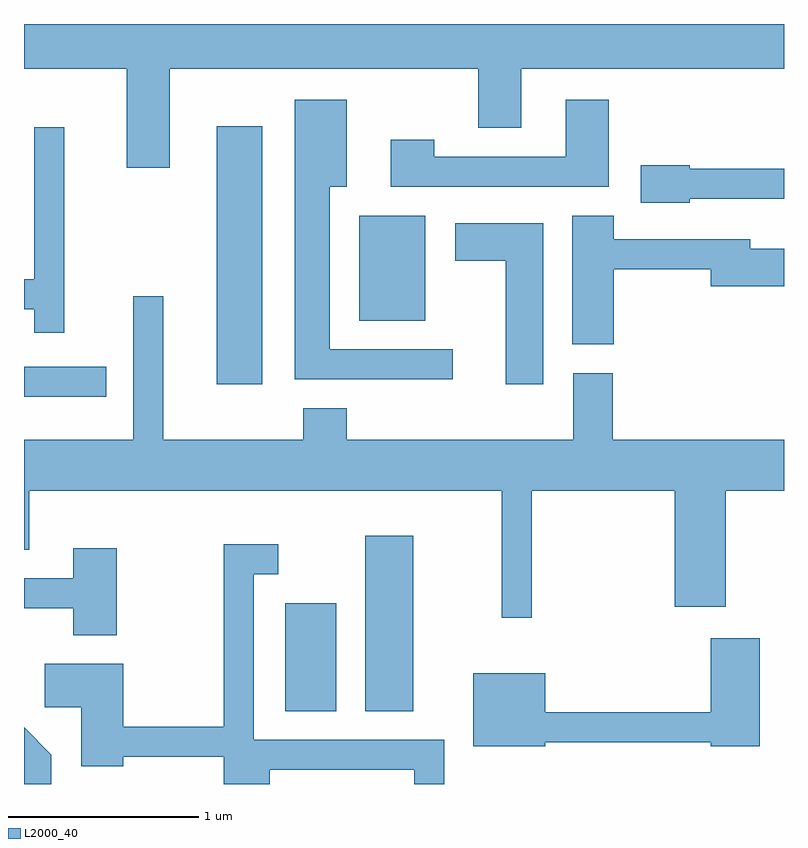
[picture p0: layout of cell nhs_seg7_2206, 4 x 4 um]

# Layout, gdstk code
import gdstk
lib = gdstk.Library(unit=1e-6, precision=1e-09)
def R(c, l, rs):  # rectangles x0, y0, x1, y1
    for r in rs: c.add(gdstk.rectangle(r[:2], r[2:], *l))
def P(c, l, *ps):  # polygons
    for p in ps: c.add(gdstk.Polygon(p, *l))
L2000_40 = (2000, 40)

nhs_seg7_2206 = lib.new_cell('nhs_seg7_2206')
R(nhs_seg7_2206, L2000_40, [(252.986,1788.636,253.254,1789.204), (253.406,1788.636,253.659,1789.559), (251.611,1790.291,252.043,1790.449), (252.626,1790.356,252.864,1791.714), (253.376,1790.691,253.724,1791.244)])
P(nhs_seg7_2206, L2000_40, [(252.379,1792.016),(254.001,1792.016),(254.001,1791.706),(254.229,1791.706),(254.229,1792.016),(255.611,1792.016),(255.611,1792.252),(251.611,1792.252),(251.611,1792.016),(252.151,1792.016),(252.151,1791.496),(252.379,1791.496)],
  [(254.689,1791.854),(254.461,1791.854),(254.461,1791.554),(253.769,1791.554),(253.769,1791.644),(253.541,1791.644),(253.541,1791.396),(254.689,1791.396)],
  [(253.868,1790.539),(253.219,1790.539),(253.219,1791.396),(253.309,1791.396),(253.309,1791.854),(253.036,1791.854),(253.036,1790.381),(253.868,1790.381)],
  [(251.824,1791.708),(251.666,1791.708),(251.666,1790.909),(251.611,1790.909),(251.611,1790.751),(251.666,1790.751),(251.666,1790.628),(251.824,1790.628)],
  [(255.114,1791.331),(255.611,1791.331),(255.611,1791.489),(255.114,1791.489),(255.114,1791.509),(254.856,1791.509),(254.856,1791.311),(255.114,1791.311)],
  [(254.714,1790.961),(255.226,1790.961),(255.226,1790.871),(255.611,1790.871),(255.611,1791.069),(255.434,1791.069),(255.434,1791.119),(254.714,1791.119),(254.714,1791.244),(254.496,1791.244),(254.496,1790.566),(254.714,1790.566)],
  [(254.344,1791.204),(253.881,1791.204),(253.881,1791.006),(254.146,1791.006),(254.146,1790.356),(254.344,1790.356)],
  [(254.284,1789.796),(255.036,1789.796),(255.036,1789.186),(255.304,1789.186),(255.304,1789.796),(255.611,1789.796),(255.611,1790.064),(254.709,1790.064),(254.709,1790.414),(254.501,1790.414),(254.501,1790.064),(253.309,1790.064),(253.309,1790.229),(253.081,1790.229),(253.081,1790.064),(252.344,1790.064),(252.344,1790.818),(252.186,1790.818),(252.186,1790.064),(251.611,1790.064),(251.611,1789.486),(251.639,1789.486),(251.639,1789.796),(254.126,1789.796),(254.126,1789.128),(254.284,1789.128)],
  [(252.904,1788.326),(253.666,1788.326),(253.666,1788.252),(253.824,1788.252),(253.824,1788.484),(252.819,1788.484),(252.819,1789.356),(252.948,1789.356),(252.948,1789.514),(252.661,1789.514),(252.661,1788.554),(252.134,1788.554),(252.134,1788.884),(251.721,1788.884),(251.721,1788.656),(251.911,1788.656),(251.911,1788.346),(252.134,1788.346),(252.134,1788.396),(252.661,1788.396),(252.661,1788.252),(252.904,1788.252)],
  [(252.099,1789.494),(251.871,1789.494),(251.871,1789.334),(251.611,1789.334),(251.611,1789.176),(251.871,1789.176),(251.871,1789.036),(252.099,1789.036)],
  [(254.354,1788.471),(255.226,1788.471),(255.226,1788.451),(255.484,1788.451),(255.484,1789.019),(255.226,1789.019),(255.226,1788.629),(254.354,1788.629),(254.354,1788.834),(253.976,1788.834),(253.976,1788.451),(254.354,1788.451)],
  [(251.754,1788.407),(251.611,1788.55),(251.611,1788.252),(251.754,1788.252)])

lib.write_gds('nhs_seg7_2206.gds')
